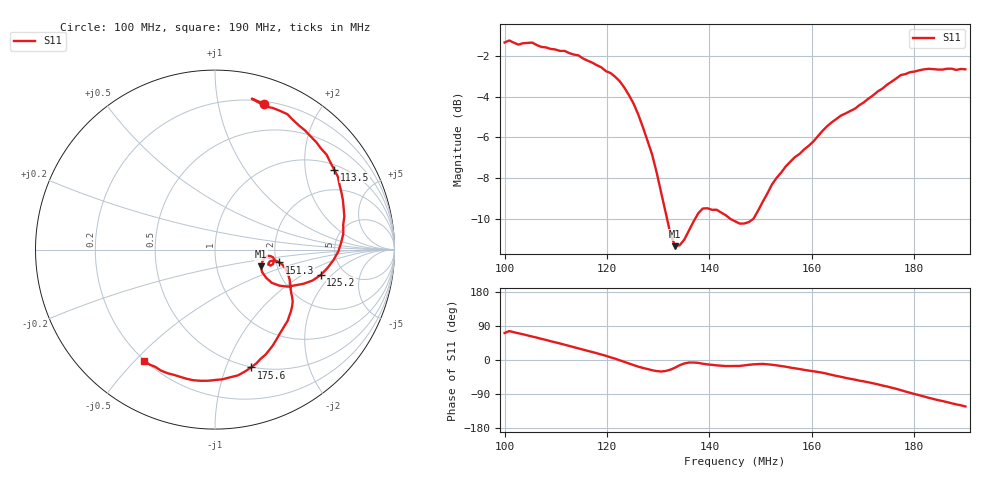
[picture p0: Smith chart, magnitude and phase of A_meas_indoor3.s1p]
!File created by NanoVNA-F V2
# Hz S RI R 50
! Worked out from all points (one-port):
!   101 points, 100 MHz to 190 MHz, reference 50 ohm
!   lowest |S11| = -11.3 dB at 133.3 MHz (marker M1), VSWR 1.74, Z = 82.1 - j16.5 ohm
!   |S11| at or under -10 dB: 131.7 MHz to 137.2 MHz (5.449 MHz wide, 4.05 % of centre); 144.1 MHz to 148.6 MHz (4.429 MHz wide, 3.03 % of centre)
!   S11 on the Smith chart (normalised r, x): 100 MHz: 0.23, +1.37; 113.5 MHz: 1.16, +2.86; 125.2 MHz: 3.35, -1.50; 151.3 MHz: 2.08, -0.34; 175.6 MHz: 0.49, -1.23; 190 MHz: 0.20, -0.53
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1e8  0.274 0.8109
1.009e8  0.2053 0.8409
1.054e8  0.4038 0.7541
1.117e8  0.6217 0.5288
1.135e8  0.6637 0.4457
1.162e8  0.7049 0.3164
1.189e8  0.7205 0.1843
1.225e8  0.6872 -0.0103
1.252e8  0.5892 -0.1413
1.27e8  0.4961 -0.1896
1.288e8  0.406 -0.2063
1.315e8  0.2855 -0.1578
1.333e8  0.2547 -0.0933
1.342e8  0.265 -0.0646
1.36e8  0.2942 -0.0345
1.387e8  0.3306 -0.0571
1.45e8  0.3005 -0.0846
1.486e8  0.3102 -0.0632
1.513e8  0.3576 -0.0716
1.567e8  0.4161 -0.167
1.63e8  0.4297 -0.3166
1.675e8  0.3767 -0.4428
1.72e8  0.3032 -0.5586
1.756e8  0.1999 -0.6567
1.792e8  0.0428 -0.7225
1.828e8  -0.1218 -0.7276
1.864e8  -0.2659 -0.6883
1.9e8  -0.3952 -0.6206
